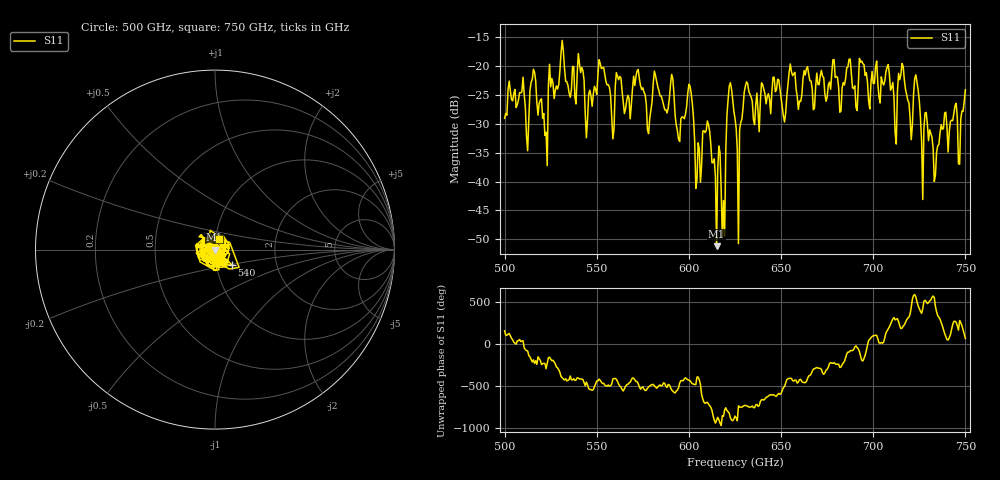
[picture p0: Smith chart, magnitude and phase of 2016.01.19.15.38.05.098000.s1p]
!Created with skrf (http://scikit-rf.org).
# GHz S RI R 50.0
!freq ReS11 ImS11
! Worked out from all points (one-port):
!   401 points, 500 GHz to 750 GHz, reference 50 ohm
!   lowest |S11| = -51.2 dB at 615 GHz (marker M1), VSWR 1.01, Z = 49.7 + j0.0185 ohm
!   |S11| at or under -10 dB: start of sweep to end of sweep
!   S11 on the Smith chart (normalised r, x): 500 GHz: 0.94, +0.02; 540 GHz: 1.19, -0.21; 750 GHz: 1.04, +0.12
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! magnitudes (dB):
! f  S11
! 500 GHz  -29.0
! 512.5 GHz  -34.7
! 515.6 GHz  -20.6
! 521.9 GHz  -32.0
! 531.2 GHz  -15.6
! 540 GHz  -17.8
! 545 GHz  -29.2
! 562.5 GHz  -21.8
! 578.1 GHz  -31.7
! 590.6 GHz  -21.4
! 593.8 GHz  -31.2
! 600.6 GHz  -23.5
! 605 GHz  -33.3
! 610 GHz  -29.5
! 615 GHz  -51.2
! 618.8 GHz  -43.3
! 621.9 GHz  -23.5
! 625 GHz  -29.1
! 626.9 GHz  -50.8
! 631.2 GHz  -22.7
! 651.2 GHz  -28.6
! 656.2 GHz  -21.7
! 687.5 GHz  -18.8
! 718.8 GHz  -25.9
! 723.8 GHz  -22.8
! 726.2 GHz  -33.1
! 733.8 GHz  -38.9
! 750 GHz  -24.1
